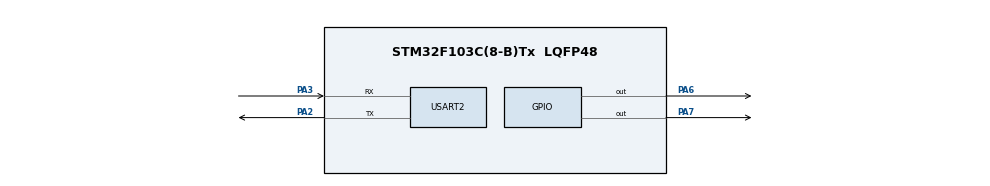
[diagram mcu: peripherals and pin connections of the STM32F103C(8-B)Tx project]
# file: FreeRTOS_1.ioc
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FREERTOS.Tasks01=defaultTask,0,128,StartDefaultTask,Default,NULL,Dynamic,NULL,NULL;myTask2,0,128,TaskInit,Default,NULL,Dynamic,NULL,NULL
Mcu.Family=STM32F1
Mcu.Name=STM32F103C(8-B)Tx
Mcu.Package=LQFP48
NVIC.PriorityGroup=NVIC_PRIORITYGROUP_4
NVIC.TIM1_UP_IRQn=true\:0\:0\:false\:false\:true\:false\:false\:true
NVIC.TimeBase=TIM1_UP_IRQn
NVIC.TimeBaseIP=TIM1
PA2.Mode=Asynchronous
PA2.Signal=USART2_TX
PA3.Mode=Asynchronous
PA3.Signal=USART2_RX
PA6.Signal=GPIO_Output
PA7.Signal=GPIO_Output
ProjectManager.HeapSize=0x200
ProjectManager.StackSize=0x400
ProjectManager.TargetToolchain=STM32CubeIDE
RCC.APB1Freq_Value=8000000
RCC.APB2Freq_Value=8000000
USART2.VirtualMode=VM_ASYNC
VP_FREERTOS_VS_CMSIS_V1.Mode=CMSIS_V1
VP_SYS_VS_ND.Mode=No_Debug
VP_SYS_VS_tim1.Mode=TIM1
board=custom

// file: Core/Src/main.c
/* USER CODE BEGIN Header */
/**
 ******************************************************************************
 * @file           : main.c
 * @brief          : Main program body
 ******************************************************************************
 * @attention
 *
 * <h2><center>&copy; Copyright (c) 2024 STMicroelectronics.
 * All rights reserved.</center></h2>
 *
 * This software component is licensed by ST under BSD 3-Clause license,
 * the "License"; You may not use this file except in compliance with the
 * License. You may obtain a copy of the License at:
 *                        opensource.org/licenses/BSD-3-Clause
 *
 ******************************************************************************
 */
/* USER CODE END Header */
#include "main.h"
#include "cmsis_os.h"

UART_HandleTypeDef huart2;

osThreadId defaultTaskHandle;
osThreadId myTask2Handle;
/* USER CODE BEGIN PV */
osThreadId Task3Handle;
/* USER CODE END PV */

void SystemClock_Config(void);
static void MX_GPIO_Init(void);
static void MX_USART2_UART_Init(void);
void StartDefaultTask(void const * argument);
void TaskInit(void const * argument);

/* USER CODE BEGIN PFP */
void Task3Init(void const * argument);
/* USER CODE END PFP */

/* USER CODE BEGIN 0 */
void send_deftask(void)
{
	uint8_t data[] = "Hello from deftask\n";
	HAL_UART_Transmit(&huart2, data, sizeof(data), 500);
}

void send_task2(void)
{
	uint8_t data[] = "Hello from task2\n";
	HAL_UART_Transmit(&huart2, data, sizeof(data), 500);
}

void send_task3(void)
{
	uint8_t data[] = "Hello from task3\n";
	HAL_UART_Transmit(&huart2, data, sizeof(data), 500);
}
/* USER CODE END 0 */

int main(void)
{

	/* MCU Configuration--------------------------------------------------------*/

	/* Reset of all peripherals, Initializes the Flash interface and the Systick. */
	HAL_Init();

	/* Configure the system clock */
	SystemClock_Config();

	/* Initialize all configured peripherals */
	MX_GPIO_Init();
	MX_USART2_UART_Init();

	/* Create the thread(s) */
	/* definition and creation of defaultTask */
	osThreadDef(defaultTask, StartDefaultTask, osPriorityNormal, 0, 128);
	defaultTaskHandle = osThreadCreate(osThread(defaultTask), NULL);

	/* definition and creation of myTask2 */
	osThreadDef(myTask2, TaskInit, osPriorityNormal, 0, 128);
	myTask2Handle = osThreadCreate(osThread(myTask2), NULL);

	/* USER CODE BEGIN RTOS_THREADS */
	osThreadDef(myTask3, Task3Init, osPriorityNormal, 0, 128);
	Task3Handle = osThreadCreate(osThread(myTask3), NULL);
	/* USER CODE END RTOS_THREADS */

	/* Start scheduler */
	osKernelStart();

	/* We should never get here as control is now taken by the scheduler */
	/* Infinite loop */
	while (1)
	{

	}
}

void SystemClock_Config(void)
{
	RCC_OscInitTypeDef RCC_OscInitStruct = {0};
	RCC_ClkInitTypeDef RCC_ClkInitStruct = {0};

	/** Initializes the RCC Oscillators according to the specified parameters
	 * in the RCC_OscInitTypeDef structure.
	 */
	RCC_OscInitStruct.OscillatorType = RCC_OSCILLATORTYPE_HSI;
	RCC_OscInitStruct.HSIState = RCC_HSI_ON;
	RCC_OscInitStruct.HSICalibrationValue = RCC_HSICALIBRATION_DEFAULT;
	RCC_OscInitStruct.PLL.PLLState = RCC_PLL_NONE;
	if (HAL_RCC_OscConfig(&RCC_OscInitStruct) != HAL_OK)
	{
		Error_Handler();
	}
	/** Initializes the CPU, AHB and APB buses clocks
	 */
	RCC_ClkInitStruct.ClockType = RCC_CLOCKTYPE_HCLK|RCC_CLOCKTYPE_SYSCLK
			|RCC_CLOCKTYPE_PCLK1|RCC_CLOCKTYPE_PCLK2;
	RCC_ClkInitStruct.SYSCLKSource = RCC_SYSCLKSOURCE_HSI;
	RCC_ClkInitStruct.AHBCLKDivider = RCC_SYSCLK_DIV1;
	RCC_ClkInitStruct.APB1CLKDivider = RCC_HCLK_DIV1;
	RCC_ClkInitStruct.APB2CLKDivider = RCC_HCLK_DIV1;

	if (HAL_RCC_ClockConfig(&RCC_ClkInitStruct, FLASH_LATENCY_0) != HAL_OK)
	{
		Error_Handler();
	}
}

static void MX_USART2_UART_Init(void)
{

	huart2.Instance = USART2;
	huart2.Init.BaudRate = 115200;
	huart2.Init.WordLength = UART_WORDLENGTH_8B;
	huart2.Init.StopBits = UART_STOPBITS_1;
	huart2.Init.Parity = UART_PARITY_NONE;
	huart2.Init.Mode = UART_MODE_TX_RX;
	huart2.Init.HwFlowCtl = UART_HWCONTROL_NONE;
	huart2.Init.OverSampling = UART_OVERSAMPLING_16;
	if (HAL_UART_Init(&huart2) != HAL_OK)
	{
		Error_Handler();
	}

}

static void MX_GPIO_Init(void)
{
	GPIO_InitTypeDef GPIO_InitStruct = {0};

	/* GPIO Ports Clock Enable */
	__HAL_RCC_GPIOA_CLK_ENABLE();

	/*Configure GPIO pin Output Level */
	HAL_GPIO_WritePin(GPIOA, GPIO_PIN_6|GPIO_PIN_7, GPIO_PIN_RESET);

	/*Configure GPIO pins : PA6 PA7 */
	GPIO_InitStruct.Pin = GPIO_PIN_6|GPIO_PIN_7;
	GPIO_InitStruct.Mode = GPIO_MODE_OUTPUT_PP;
	GPIO_InitStruct.Pull = GPIO_NOPULL;
	GPIO_InitStruct.Speed = GPIO_SPEED_FREQ_LOW;
	HAL_GPIO_Init(GPIOA, &GPIO_InitStruct);

}

void StartDefaultTask(void const * argument)
{
	/* USER CODE BEGIN 5 */
	/* Infinite loop */
	for(;;)
	{
//		HAL_GPIO_TogglePin(GPIOA, GPIO_PIN_6);
		send_deftask();
		osDelay(1000);
	}
	/* USER CODE END 5 */
}

void TaskInit(void const * argument)
{
	/* USER CODE BEGIN TaskInit */
	/* Infinite loop */
	for(;;)
	{
//		HAL_GPIO_TogglePin(GPIOA, GPIO_PIN_7);
		send_task2();
		osDelay(2000);
	}
	/* USER CODE END TaskInit */
}

void Task3Init(void const * argument)
{
	/* USER CODE BEGIN Task3Init */
	/* Infinite loop */
	for(;;)
	{
		osDelay(3000);
	}
	/* USER CODE END Task3Init */
}

void HAL_TIM_PeriodElapsedCallback(TIM_HandleTypeDef *htim)
{
	if (htim->Instance == TIM1) {
		HAL_IncTick();
	}
}

void Error_Handler(void)
{
}

/************************ (C) COPYRIGHT STMicroelectronics *****END OF FILE****/
